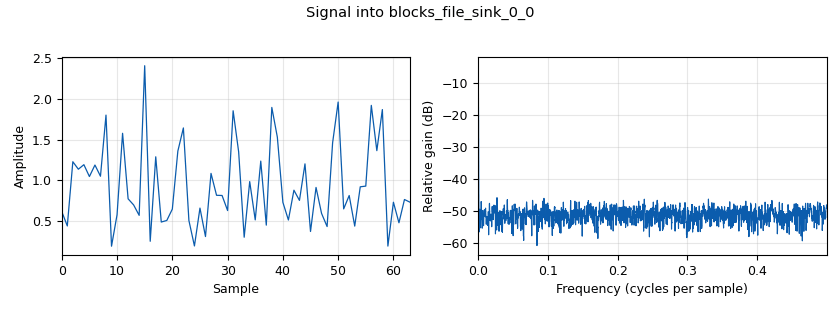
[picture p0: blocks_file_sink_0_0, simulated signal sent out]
options:
  parameters:
    author: mblashki
    generate_options: qt_gui
    id: noise
    output_language: python
    title: Not titled yet
  states: {}

blocks:
- name: SNR
  id: variable
  parameters:
    value: '1'
  states: {}
- name: max_freq
  id: variable
  parameters:
    value: '150_000_000'
  states: {}
- name: samp_rate
  id: variable
  parameters:
    value: max_freq*2
  states: {}
- name: analog_noise_source_x_0
  id: analog_noise_source_x
  parameters:
    amp: 1/SNR
    noise_type: analog.GR_GAUSSIAN
    seed: '0'
    type: complex
  states: {}
- name: blocks_complex_to_mag_0
  id: blocks_complex_to_mag
  parameters: {}
  states: {}
- name: blocks_file_sink_0
  id: blocks_file_sink
  parameters:
    file: /mnt/c/Users/blash/OneDrive - Deakin University/Honours/Project/gnu-radio/quantum.bin
    type: float
  states: {}
- name: blocks_file_sink_0_0
  id: blocks_file_sink
  parameters:
    file: /mnt/c/Users/blash/OneDrive - Deakin University/Honours/Project/gnu-radio/raw.bin
    type: float
  states: {}
- name: blocks_throttle_0_1
  id: blocks_throttle
  parameters:
    samples_per_second: samp_rate
    type: complex
  states: {}
- name: data_process_and_display
  id: snippet
  parameters:
    code: |-
      import matplotlib.pyplot as plt
      import numpy as np

      ###### load

      quantum = np.fromfile(open("/mnt/c/Users/blash/OneDrive - Deakin University/Honours/Project/gnu-radio/quantum.bin"), dtype=np.float32)
      raw = np.fromfile(open("/mnt/c/Users/blash/OneDrive - Deakin University/Honours/Project/gnu-radio/raw.bin"), dtype=np.float32)

      # Stats

      print(len(quantum))
      print(len(raw))

      ###### store

      min_length = min(len(quantum), len(raw))
      data = np.column_stack((raw[:min_length], quantum[:min_length]))
      np.savetxt("/mnt/c/Users/blash/OneDrive - Deakin University/Honours/Project/gnu-radio/data.csv", data, delimiter=",", fmt="%.8f")
      ###### Display

      # Load the data from the CSV file
      data = np.genfromtxt('/mnt/c/Users/blash/OneDrive - Deakin University/Honours/Project/gnu-radio/data.csv', delimiter=',')

      # Extract the columns
      raw = data[:, 0]
      quantum = data[:, 1]

      # Create the x-axis values
      x = np.arange(len(raw))

      # Plot the data
      plt.plot(x, raw, label='Raw')
      plt.plot(x, quantum, label='Quantum')

      # Set the chart title and labels
      plt.title('Raw and Quantum Data')
      plt.xlabel('Index')
      plt.ylabel('Value')

      # Show a legend
      plt.legend()

      # Display the chart
      plt.show()
    section: main_after_stop
  states: {}
- name: low_pass_filter_0
  id: low_pass_filter
  parameters:
    cutoff_freq: '150_000_000'
    decim: '1'
    gain: '1'
    samp_rate: samp_rate
    type: fir_filter_ccf
    width: '1_000_000'
    win: window.WIN_HAMMING
  states: {}
- name: qtgui_time_sink_x_1_0
  id: qtgui_time_sink_x
  parameters:
    autoscale: 'True'
    ctrlpanel: 'True'
    grid: 'True'
    nconnections: '2'
    size: '512'
    srate: samp_rate
    type: float
    update_time: '0.1'
  states: {}
- name: quantum_quantum_encode_sink_0
  id: quantum_quantum_encode_sink
  parameters:
    method: basis
    num_qubits: '8'
    shots: '250'
  states: {}

connections:
- [analog_noise_source_x_0, '0', low_pass_filter_0, '0']
- [blocks_complex_to_mag_0, '0', blocks_file_sink_0_0, '0']
- [blocks_complex_to_mag_0, '0', qtgui_time_sink_x_1_0, '1']
- [blocks_throttle_0_1, '0', blocks_complex_to_mag_0, '0']
- [blocks_throttle_0_1, '0', quantum_quantum_encode_sink_0, '0']
- [low_pass_filter_0, '0', blocks_throttle_0_1, '0']
- [quantum_quantum_encode_sink_0, '0', blocks_file_sink_0, '0']
- [quantum_quantum_encode_sink_0, '0', qtgui_time_sink_x_1_0, '0']

metadata:
  file_format: 1
